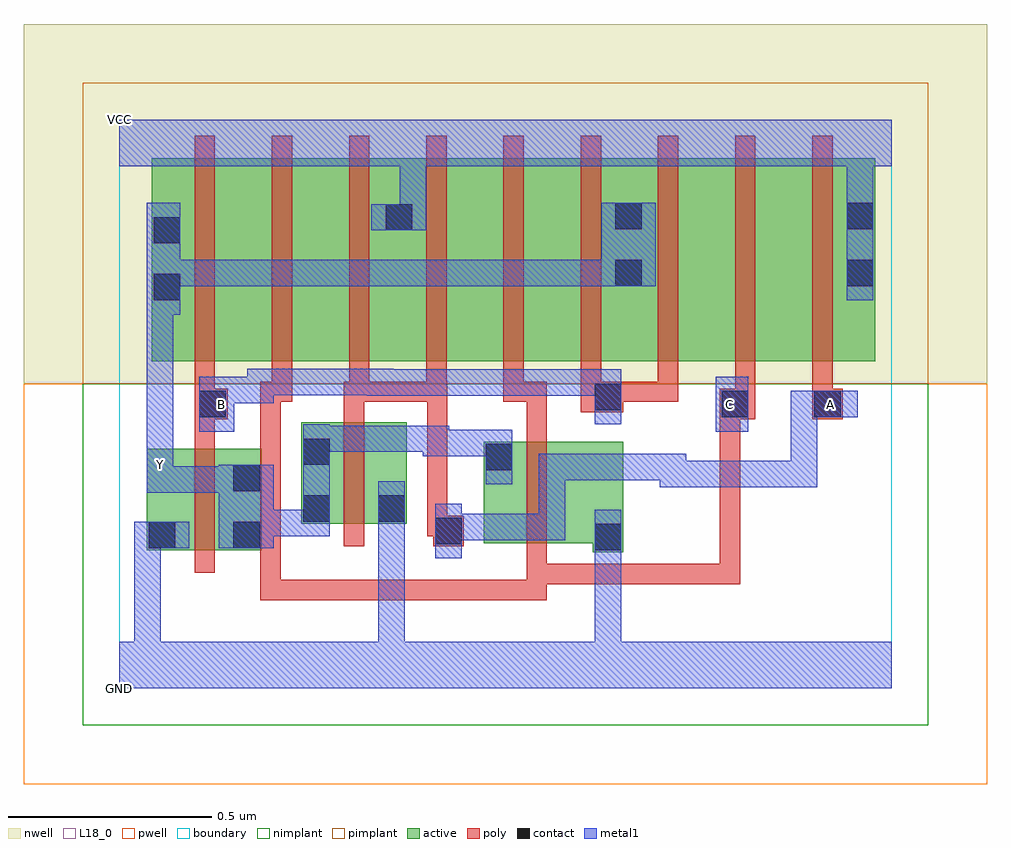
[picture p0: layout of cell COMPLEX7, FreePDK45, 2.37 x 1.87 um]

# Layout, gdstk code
import gdstk
lib = gdstk.Library(unit=1e-6, precision=1e-09)
def R(c, l, rs):  # rectangles x0, y0, x1, y1
    for r in rs: c.add(gdstk.rectangle(r[:2], r[2:], *l))
def A(c, l, x, y, w, h, nx, ny, dx, dy):  # array of equal rectangles
    R(c, l, [(x+i*dx, y+j*dy, x+i*dx+w, y+j*dy+h) for i in range(nx) for j in range(ny)])
active = (1, 0)
pwell = (2, 0)
nwell = (3, 0)
nimplant = (4, 0)
pimplant = (5, 0)
poly = (9, 0)
contact = (10, 0)
metal1 = (11, 0)
L18_0 = (18, 0)
boundary = (235, 0)

complex7 = lib.new_cell('COMPLEX7')
A(complex7, active, 0.305, 0.805, 0.19, 0.5, 3, 1, 0.57, 0)
R(complex7, active, [(1.165,0.335,1.24,0.607), (0.067,0.34,0.142,0.59), (0.067,0.34,0.35,0.59), (0.275,0.34,0.35,0.59), (0.897,0.357,1.24,0.607), (0.897,0.382,0.972,0.607), (0.447,0.405,0.522,0.655), (0.447,0.405,0.707,0.655), (0.632,0.405,0.707,0.655), (0.08,0.805,0.305,1.305), (0.08,0.805,0.185,1.2), (0.495,0.805,0.725,1.305), (0.65,0.805,0.875,1.305), (1.065,0.805,1.29,1.305), (1.215,0.805,1.445,1.305), (1.215,0.805,1.29,1.2), (1.635,0.805,1.86,1.305), (1.785,0.805,1.86,1.305), (0.65,0.807,0.725,1.305)])
R(complex7, pwell, [(-0.235,-0.235,2.135,0.75)])
R(complex7, nwell, [(-0.235,0.75,2.135,1.635)])
R(complex7, nimplant, [(-0.09,-0.09,1.99,0.75)])
R(complex7, pimplant, [(-0.09,0.75,1.99,1.49)])
A(complex7, poly, 0.375, 0.705, 0.05, 0.095, 6, 1, 0.19, 0)
A(complex7, poly, 0.185, 0.75, 0.05, 0.61, 9, 1, 0.19, 0)
R(complex7, poly, [(0.347,0.217,0.397,0.267), (0.347,0.217,0.397,0.267), (0.347,0.217,0.397,0.267), (0.347,0.217,0.397,0.267), (0.347,0.217,0.397,0.267), (0.347,0.217,0.557,0.267), (0.347,0.217,0.397,0.755), (0.507,0.217,0.557,0.267), (0.507,0.217,0.557,0.267), (0.507,0.217,0.557,0.267), (0.507,0.217,0.747,0.267), (0.697,0.217,0.747,0.267), (0.697,0.217,0.747,0.267), (0.697,0.217,0.747,0.267), (0.697,0.217,1.052,0.267), (1.002,0.217,1.052,0.267), (1.002,0.217,1.052,0.267), (1.002,0.217,1.052,0.307), (1.002,0.257,1.052,0.352), (1.002,0.257,1.242,0.307), (1.192,0.257,1.242,0.307), (1.192,0.257,1.242,0.307), (1.192,0.257,1.242,0.307), (1.192,0.257,1.395,0.307), (1.345,0.257,1.395,0.307), (1.345,0.257,1.395,0.307), (1.345,0.257,1.395,0.307), (1.345,0.257,1.527,0.307), (1.477,0.257,1.527,0.307), (1.477,0.257,1.527,0.307), (1.477,0.257,1.527,0.307), (1.477,0.257,1.527,0.307), (1.477,0.257,1.527,0.307), (1.477,0.257,1.527,0.712), (0.185,0.285,0.235,0.645), (1.002,0.302,1.052,0.662), (0.552,0.35,0.602,0.71), (0.772,0.35,0.847,0.425), (0.757,0.375,0.807,0.755), (0.757,0.375,0.822,0.425), (0.772,0.375,0.822,0.425), (0.185,0.595,0.235,0.712), (1.002,0.612,1.052,0.755), (0.552,0.66,0.602,0.755), (0.185,0.662,0.267,0.737), (1.477,0.662,1.527,0.712), (1.477,0.662,1.527,0.712), (1.477,0.662,1.565,0.737), (1.705,0.662,1.78,0.737), (1.135,0.68,1.24,0.755), (0.185,0.687,0.235,0.8), (1.515,0.687,1.565,0.8), (1.705,0.687,1.755,0.8), (0.347,0.705,0.425,0.755), (0.552,0.705,0.615,0.755), (0.565,0.705,0.805,0.755), (0.755,0.705,0.805,0.755), (0.755,0.705,0.805,0.755), (0.755,0.705,0.807,0.755), (0.945,0.705,1.052,0.755), (1.19,0.705,1.375,0.755), (1.325,0.705,1.375,0.755), (1.325,0.705,1.375,0.755), (1.325,0.705,1.375,0.755)])
R(complex7, contact, [(1.17,0.34,1.235,0.405), (0.072,0.345,0.137,0.41), (0.28,0.345,0.345,0.41), (0.777,0.355,0.842,0.42), (0.452,0.41,0.517,0.475), (0.637,0.41,0.702,0.475), (0.28,0.485,0.345,0.55), (0.902,0.537,0.967,0.602), (0.452,0.55,0.517,0.615), (0.197,0.667,0.262,0.732), (1.482,0.667,1.547,0.732), (1.71,0.667,1.775,0.732), (1.17,0.685,1.235,0.75), (0.085,0.955,0.15,1.02), (1.22,0.99,1.285,1.055), (1.79,0.99,1.855,1.055), (0.085,1.095,0.15,1.16), (0.655,1.127,0.72,1.192), (1.22,1.13,1.285,1.195), (1.79,1.13,1.855,1.195)])
R(complex7, metal1, [(0,0,1.9,0.115), (0.037,0.05,0.102,0.41), (0.637,0.05,0.702,0.115), (0.637,0.05,0.702,0.115), (0.637,0.05,0.702,0.115), (0.637,0.05,0.702,0.115), (0.637,0.05,0.702,0.115), (0.637,0.05,0.702,0.115), (0.637,0.05,0.702,0.44), (1.17,0.05,1.235,0.115), (1.17,0.05,1.235,0.115), (1.17,0.05,1.235,0.115), (1.17,0.05,1.235,0.115), (1.17,0.05,1.235,0.115), (1.17,0.05,1.235,0.115), (1.17,0.05,1.235,0.37), (1.17,0.305,1.235,0.44), (0.777,0.32,0.842,0.455), (0.037,0.345,0.102,0.41), (0.037,0.345,0.102,0.41), (0.037,0.345,0.102,0.41), (0.037,0.345,0.102,0.41), (0.037,0.345,0.102,0.41), (0.037,0.345,0.102,0.41), (0.037,0.345,0.172,0.41), (0.245,0.345,0.38,0.55), (0.777,0.365,0.842,0.43), (0.777,0.365,0.842,0.43), (0.777,0.365,1.097,0.43), (1.032,0.365,1.097,0.43), (1.032,0.365,1.097,0.577), (0.315,0.375,0.517,0.44), (0.452,0.375,0.517,0.65), (0.452,0.375,0.517,0.44), (0.452,0.375,0.517,0.44), (0.637,0.375,0.702,0.51), (0.067,0.482,0.132,0.547), (0.067,0.482,0.132,0.547), (0.067,0.482,0.132,0.547), (0.067,0.482,0.132,0.547), (0.067,0.482,0.132,0.617), (0.067,0.482,0.31,0.547), (1.33,0.495,1.602,0.56), (1.33,0.495,1.395,0.577), (1.537,0.495,1.602,0.56), (1.537,0.495,1.717,0.56), (1.652,0.495,1.717,0.732), (1.652,0.495,1.717,0.56), (0.902,0.502,0.967,0.637), (1.032,0.512,1.097,0.577), (1.032,0.512,1.105,0.577), (1.04,0.512,1.105,0.577), (1.04,0.512,1.242,0.577), (1.177,0.512,1.242,0.577), (1.177,0.512,1.242,0.577), (1.177,0.512,1.242,0.577), (1.177,0.512,1.395,0.577), (1.33,0.512,1.395,0.577), (1.33,0.512,1.395,0.577), (0.067,0.552,0.132,0.985), (0.747,0.572,0.967,0.637), (0.747,0.572,0.812,0.647), (0.452,0.582,0.655,0.647), (0.59,0.582,0.655,0.647), (0.59,0.582,0.655,0.647), (0.59,0.582,0.655,0.647), (0.59,0.582,0.812,0.647), (0.197,0.632,0.282,0.767), (1.467,0.632,1.547,0.767), (1.17,0.65,1.235,0.785), (1.652,0.667,1.74,0.732), (1.652,0.667,1.717,0.732), (1.675,0.667,1.817,0.732), (0.217,0.702,0.38,0.767), (0.315,0.702,0.38,0.787), (0.61,0.72,0.84,0.785), (0.61,0.72,0.675,0.787), (0.775,0.72,0.84,0.785), (0.775,0.72,0.84,0.785), (0.775,0.72,0.84,0.785), (0.775,0.72,0.98,0.785), (0.915,0.72,0.98,0.785), (0.915,0.72,1.105,0.785), (1.04,0.72,1.105,0.785), (1.04,0.72,1.235,0.785), (0.315,0.722,0.517,0.787), (0.452,0.722,0.517,0.787), (0.452,0.722,0.517,0.787), (0.452,0.722,0.517,0.787), (0.452,0.722,0.675,0.787), (0.61,0.722,0.675,0.787), (0.61,0.722,0.675,0.787), (0.067,0.92,0.15,1.195), (1.79,0.955,1.855,1.23), (0.085,0.99,0.287,1.055), (0.222,0.99,0.287,1.055), (0.222,0.99,0.287,1.055), (0.222,0.99,0.287,1.055), (0.222,0.99,0.517,1.055), (0.452,0.99,0.517,1.055), (0.452,0.99,0.517,1.055), (0.452,0.99,0.517,1.055), (0.452,0.99,0.655,1.055), (0.59,0.99,0.655,1.055), (0.59,0.99,0.655,1.055), (0.59,0.99,0.655,1.055), (0.59,0.99,0.84,1.055), (0.775,0.99,0.84,1.055), (0.775,0.99,0.84,1.055), (0.775,0.99,0.84,1.055), (0.775,0.99,0.98,1.055), (0.915,0.99,0.98,1.055), (0.915,0.99,1.105,1.055), (1.04,0.99,1.105,1.055), (1.04,0.99,1.25,1.055), (1.185,0.99,1.25,1.055), (1.185,0.99,1.25,1.055), (1.185,0.99,1.32,1.195), (0.62,1.127,0.755,1.192), (0.69,1.127,0.755,1.35), (1.79,1.165,1.855,1.35), (0,1.285,1.9,1.4)])
R(complex7, L18_0, [(0,0,1.9,0.115), (0.037,0.05,0.102,0.41), (0.637,0.05,0.702,0.115), (0.637,0.05,0.702,0.115), (0.637,0.05,0.702,0.115), (0.637,0.05,0.702,0.115), (0.637,0.05,0.702,0.115), (0.637,0.05,0.702,0.115), (0.637,0.05,0.702,0.44), (1.17,0.05,1.235,0.115), (1.17,0.05,1.235,0.115), (1.17,0.05,1.235,0.115), (1.17,0.05,1.235,0.115), (1.17,0.05,1.235,0.115), (1.17,0.05,1.235,0.115), (1.17,0.05,1.235,0.37), (1.17,0.305,1.235,0.44), (0.777,0.32,0.842,0.455), (0.037,0.345,0.102,0.41), (0.037,0.345,0.102,0.41), (0.037,0.345,0.102,0.41), (0.037,0.345,0.102,0.41), (0.037,0.345,0.102,0.41), (0.037,0.345,0.102,0.41), (0.037,0.345,0.172,0.41), (0.245,0.345,0.38,0.55), (0.777,0.365,0.842,0.43), (0.777,0.365,0.842,0.43), (0.777,0.365,1.097,0.43), (1.032,0.365,1.097,0.43), (1.032,0.365,1.097,0.577), (0.315,0.375,0.517,0.44), (0.452,0.375,0.517,0.44), (0.452,0.375,0.517,0.44), (0.452,0.375,0.517,0.65), (0.637,0.375,0.702,0.51), (0.067,0.482,0.132,0.547), (0.067,0.482,0.132,0.547), (0.067,0.482,0.132,0.547), (0.067,0.482,0.132,0.547), (0.067,0.482,0.132,0.617), (0.067,0.482,0.31,0.547), (1.33,0.495,1.395,0.577), (1.33,0.495,1.602,0.56), (1.537,0.495,1.602,0.56), (1.537,0.495,1.717,0.56), (1.652,0.495,1.717,0.56), (1.652,0.495,1.717,0.732), (0.902,0.502,0.967,0.637), (1.032,0.512,1.097,0.577), (1.032,0.512,1.105,0.577), (1.04,0.512,1.105,0.577), (1.04,0.512,1.242,0.577), (1.177,0.512,1.242,0.577), (1.177,0.512,1.242,0.577), (1.177,0.512,1.242,0.577), (1.177,0.512,1.395,0.577), (1.33,0.512,1.395,0.577), (1.33,0.512,1.395,0.577), (0.067,0.517,0.132,0.582), (0.067,0.552,0.132,0.985), (0.747,0.572,0.812,0.647), (0.747,0.572,0.967,0.637), (0.452,0.582,0.655,0.647), (0.59,0.582,0.655,0.647), (0.59,0.582,0.655,0.647), (0.59,0.582,0.655,0.647), (0.59,0.582,0.812,0.647), (0.197,0.632,0.282,0.767), (1.467,0.632,1.547,0.767), (1.17,0.65,1.235,0.785), (0.217,0.667,0.282,0.732), (1.467,0.667,1.532,0.732), (1.652,0.667,1.717,0.732), (1.652,0.667,1.74,0.732), (1.675,0.667,1.817,0.732), (1.717,0.667,1.782,0.732), (0.217,0.702,0.38,0.767), (0.315,0.702,0.38,0.787), (0.61,0.72,0.675,0.787), (0.61,0.72,0.84,0.785), (0.775,0.72,0.84,0.785), (0.775,0.72,0.84,0.785), (0.775,0.72,0.84,0.785), (0.775,0.72,0.98,0.785), (0.915,0.72,0.98,0.785), (0.915,0.72,1.105,0.785), (1.04,0.72,1.105,0.785), (1.04,0.72,1.235,0.785), (0.315,0.722,0.517,0.787), (0.452,0.722,0.517,0.787), (0.452,0.722,0.517,0.787), (0.452,0.722,0.517,0.787), (0.452,0.722,0.675,0.787), (0.61,0.722,0.675,0.787), (0.61,0.722,0.675,0.787), (0.067,0.92,0.15,1.195), (1.79,0.955,1.855,1.23), (0.085,0.99,0.287,1.055), (0.222,0.99,0.287,1.055), (0.222,0.99,0.287,1.055), (0.222,0.99,0.287,1.055), (0.222,0.99,0.517,1.055), (0.452,0.99,0.517,1.055), (0.452,0.99,0.517,1.055), (0.452,0.99,0.517,1.055), (0.452,0.99,0.655,1.055), (0.59,0.99,0.655,1.055), (0.59,0.99,0.655,1.055), (0.59,0.99,0.655,1.055), (0.59,0.99,0.84,1.055), (0.775,0.99,0.84,1.055), (0.775,0.99,0.84,1.055), (0.775,0.99,0.84,1.055), (0.775,0.99,0.98,1.055), (0.915,0.99,0.98,1.055), (0.915,0.99,1.105,1.055), (1.04,0.99,1.105,1.055), (1.04,0.99,1.25,1.055), (1.185,0.99,1.25,1.055), (1.185,0.99,1.25,1.055), (1.185,0.99,1.32,1.195), (0.62,1.127,0.755,1.192), (0.69,1.127,0.755,1.35), (1.79,1.165,1.855,1.35), (0,1.285,1.9,1.4)])
R(complex7, boundary, [(0,0,1.9,1.4)])
complex7.add(gdstk.Label('A', (1.75,0.7), layer=11, texttype=0))
complex7.add(gdstk.Label('B', (0.25,0.7), layer=11, texttype=0))
complex7.add(gdstk.Label('C', (1.5,0.7), layer=11, texttype=0))
complex7.add(gdstk.Label('Y', (0.1,0.55), layer=11, texttype=0))
complex7.add(gdstk.Label('VCC', (0,1.4), layer=11, texttype=0))
complex7.add(gdstk.Label('GND', (0,0), layer=11, texttype=0))

lib.write_gds('COMPLEX7.gds')
